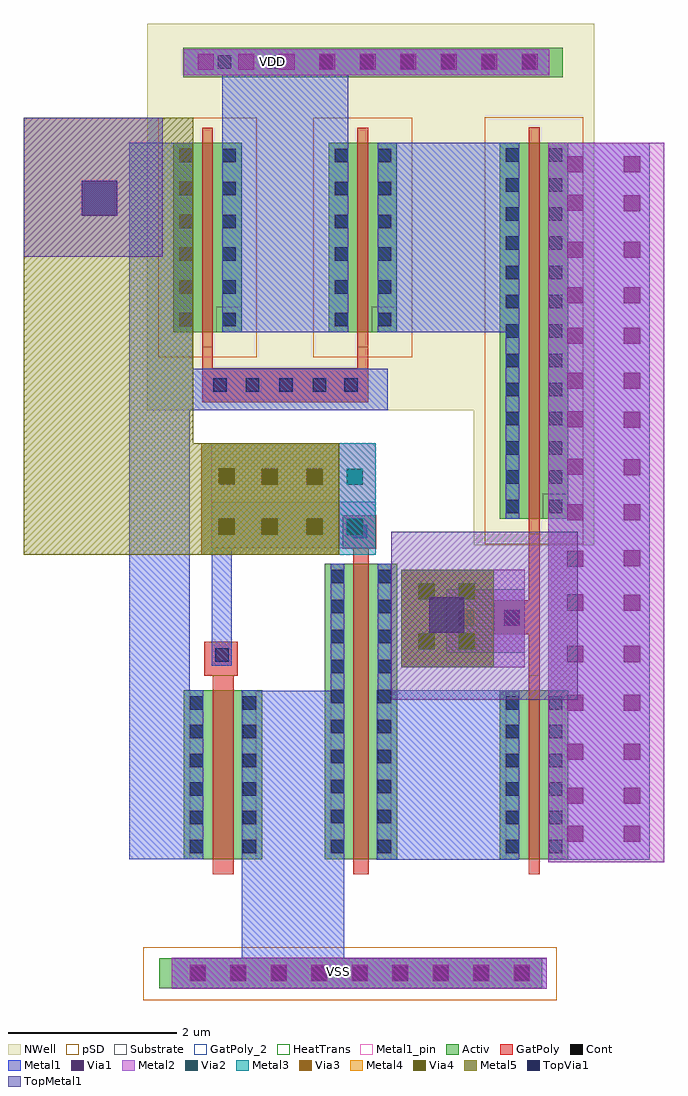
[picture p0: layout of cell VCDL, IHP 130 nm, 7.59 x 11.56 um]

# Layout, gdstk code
import gdstk
lib = gdstk.Library(unit=1e-6, precision=1e-09)
def R(c, l, rs):  # rectangles x0, y0, x1, y1
    for r in rs: c.add(gdstk.rectangle(r[:2], r[2:], *l))
def A(c, l, x, y, w, h, nx, ny, dx, dy):  # array of equal rectangles
    R(c, l, [(x+i*dx, y+j*dy, x+i*dx+w, y+j*dy+h) for i in range(nx) for j in range(ny)])
def P(c, l, *ps):  # polygons
    for p in ps: c.add(gdstk.Polygon(p, *l))
Activ = (1, 0)
GatPoly = (5, 0)
GatPoly_2 = (5, 2)
Cont = (6, 0)
Metal1 = (8, 0)
Metal1_pin = (8, 2)
Metal2 = (10, 0)
pSD = (14, 0)
Via1 = (19, 0)
Via2 = (29, 0)
Metal3 = (30, 0)
NWell = (31, 0)
Substrate = (40, 0)
Via3 = (49, 0)
Metal4 = (50, 0)
HeatTrans = (51, 0)
Via4 = (66, 0)
Metal5 = (67, 0)
TopVia1 = (125, 0)
TopMetal1 = (126, 0)

nmos = lib.new_cell('nmos')
R(nmos, Activ, [(0,0,0.3,0.3), (0,0,0.81,2), (0.51,0,0.81,0.3)])
R(nmos, GatPoly, [(0.34,-0.18,0.47,2.18)])
R(nmos, GatPoly_2, [(0.34,-0.18,0.47,2.18)])
A(nmos, Cont, 0.07, 0.07, 0.16, 0.16, 1, 6, 0, 0.34)
A(nmos, Cont, 0.58, 0.07, 0.16, 0.16, 1, 6, 0, 0.34)
R(nmos, Metal1, [(0.07,0,0.23,2), (0.58,0,0.74,2)])
R(nmos, Metal1_pin, [(0.07,0,0.23,2), (0.58,0,0.74,2)])
R(nmos, HeatTrans, [(0.34,-0.18,0.47,2.18)])
nmos.add(gdstk.Label('nmos', (0.405,1), layer=63, texttype=0))
nmos.add(gdstk.Label('nmos', (0.405,1), layer=51, texttype=0))

nmos_1 = lib.new_cell('nmos$1')
R(nmos_1, Activ, [(0,0,0.3,0.3), (0,0,0.86,3.5), (0.56,0,0.86,0.3)])
R(nmos_1, GatPoly, [(0.34,-0.18,0.52,3.68)])
R(nmos_1, GatPoly_2, [(0.34,-0.18,0.52,3.68)])
A(nmos_1, Cont, 0.07, 0.07, 0.16, 0.16, 1, 9, 0, 0.355)
A(nmos_1, Cont, 0.63, 0.07, 0.16, 0.16, 1, 9, 0, 0.355)
R(nmos_1, Cont, [(0.07,3.27,0.23,3.43), (0.63,3.27,0.79,3.43)])
R(nmos_1, Metal1, [(0.07,0,0.23,3.5), (0.63,0,0.79,3.5)])
R(nmos_1, Metal1_pin, [(0.07,0,0.23,3.5), (0.63,0,0.79,3.5)])
R(nmos_1, HeatTrans, [(0.34,-0.18,0.52,3.68)])
nmos_1.add(gdstk.Label('nmos', (0.43,1.75), layer=63, texttype=0))
nmos_1.add(gdstk.Label('nmos', (0.43,1.75), layer=51, texttype=0))

nmos_2 = lib.new_cell('nmos$2')
R(nmos_2, Activ, [(0,0,0.3,0.3), (0,0,0.93,2), (0.63,0,0.93,0.3)])
R(nmos_2, GatPoly, [(0.34,-0.18,0.59,2.18)])
R(nmos_2, GatPoly_2, [(0.34,-0.18,0.59,2.18)])
A(nmos_2, Cont, 0.07, 0.07, 0.16, 0.16, 1, 6, 0, 0.34)
A(nmos_2, Cont, 0.7, 0.07, 0.16, 0.16, 1, 6, 0, 0.34)
R(nmos_2, Metal1, [(0.07,0,0.23,2), (0.7,0,0.86,2)])
R(nmos_2, Metal1_pin, [(0.07,0,0.23,2), (0.7,0,0.86,2)])
R(nmos_2, HeatTrans, [(0.34,-0.18,0.59,2.18)])
nmos_2.add(gdstk.Label('nmos', (0.465,1), layer=63, texttype=0))
nmos_2.add(gdstk.Label('nmos', (0.465,1), layer=51, texttype=0))

pmos = lib.new_cell('pmos')
R(pmos, Activ, [(0,0,0.3,0.3), (0,0,0.81,4.46), (0.51,0,0.81,0.3)])
R(pmos, GatPoly, [(0.34,-0.18,0.47,4.64), (0.34,-0.18,0.47,4.64)])
A(pmos, Cont, 0.07, 0.07, 0.16, 0.16, 1, 3, 0, 0.345)
A(pmos, Cont, 0.58, 0.07, 0.16, 0.16, 1, 3, 0, 0.345)
A(pmos, Cont, 0.07, 1.11, 0.16, 0.16, 1, 3, 0, 0.345)
A(pmos, Cont, 0.58, 1.11, 0.16, 0.16, 1, 3, 0, 0.345)
A(pmos, Cont, 0.07, 2.15, 0.16, 0.16, 1, 3, 0, 0.345)
A(pmos, Cont, 0.58, 2.15, 0.16, 0.16, 1, 3, 0, 0.345)
A(pmos, Cont, 0.07, 3.19, 0.16, 0.16, 1, 3, 0, 0.345)
A(pmos, Cont, 0.58, 3.19, 0.16, 0.16, 1, 3, 0, 0.345)
R(pmos, Cont, [(0.07,4.23,0.23,4.39), (0.58,4.23,0.74,4.39)])
R(pmos, Metal1, [(0.07,0,0.23,4.46), (0.07,0,0.23,4.46), (0.58,0,0.74,4.46), (0.58,0,0.74,4.46)])
R(pmos, pSD, [(-0.18,-0.3,0.99,4.76)])
R(pmos, NWell, [(-0.31,-0.31,1.12,4.77)])
R(pmos, Substrate, [(0.51,0,0.81,0.3)])
R(pmos, HeatTrans, [(0.34,-0.18,0.47,4.64)])
pmos.add(gdstk.Label('pmos', (0.405,2.23), layer=63, texttype=0))
pmos.add(gdstk.Label('pmos', (0.405,2.23), layer=51, texttype=0))

pmos_1 = lib.new_cell('pmos$1')
R(pmos_1, Activ, [(0,0,0.3,0.3), (0,0,0.81,2.24), (0.51,0,0.81,0.3)])
R(pmos_1, GatPoly, [(0.34,-0.18,0.47,2.42), (0.34,-0.18,0.47,2.42)])
A(pmos_1, Cont, 0.07, 1.23, 0.16, 0.16, 1, 3, 0, 0.39)
A(pmos_1, Cont, 0.58, 1.23, 0.16, 0.16, 1, 3, 0, 0.39)
R(pmos_1, Cont, [(0.07,0.07,0.23,0.23), (0.58,0.07,0.74,0.23), (0.07,0.455,0.23,0.615), (0.58,0.455,0.74,0.615), (0.07,0.845,0.23,1.005), (0.58,0.845,0.74,1.005)])
R(pmos_1, Metal1, [(0.07,0,0.23,2.24), (0.07,0,0.23,2.24), (0.58,0,0.74,2.24), (0.58,0,0.74,2.24)])
R(pmos_1, pSD, [(-0.18,-0.3,0.99,2.54)])
R(pmos_1, NWell, [(-0.31,-0.31,1.12,2.55)])
R(pmos_1, Substrate, [(0.51,0,0.81,0.3)])
R(pmos_1, HeatTrans, [(0.34,-0.18,0.47,2.42)])
pmos_1.add(gdstk.Label('pmos', (0.405,1.12), layer=63, texttype=0))
pmos_1.add(gdstk.Label('pmos', (0.405,1.12), layer=51, texttype=0))

vcdl = lib.new_cell('VCDL')
R(vcdl, Activ, [(9.64,74.94,14.175,75.295), (9.855,74.967,11.295,75.267), (9.855,74.967,11.295,75.267), (11.295,74.967,12.735,75.267), (11.295,74.967,12.735,75.267), (12.735,74.967,14.175,75.267), (12.735,74.967,14.175,75.267), (9.92,85.735,14.42,86.085), (9.94,85.76,14.255,86.06)])
R(vcdl, GatPoly, [(10.17,78.645,10.57,79.045), (14.015,78.65,14.145,80.32), (13.61,79.135,14.015,79.535), (11.81,80.145,12.21,80.545), (10.145,81.885,12.115,82.285), (10.28,81.962,11.99,82.202), (10.145,81.965,10.275,82.535), (11.985,81.965,12.115,82.535)])
R(vcdl, GatPoly_2, [(10.145,81.885,12.115,82.285)])
A(vcdl, Cont, 10.015, 75.035, 0.16, 0.16, 9, 1, 0.48, 0)
A(vcdl, Cont, 10.665, 82.005, 0.16, 0.16, 3, 1, 0.395, 0)
A(vcdl, Cont, 11.535, 85.835, 0.16, 0.16, 6, 1, 0.48, 0)
R(vcdl, Cont, [(10.015,75.035,10.175,75.195), (10.3,78.81,10.46,78.97), (13.73,79.255,13.89,79.415), (11.94,80.27,12.1,80.43), (10.28,82.005,10.44,82.165), (11.83,82.005,11.99,82.165), (10.33,85.835,10.49,85.995), (10.91,85.835,11.07,85.995)])
R(vcdl, Metal1, [(9.785,74.935,14.23,75.295), (9.785,74.937,14.23,75.295), (11.1,74.972,11.4,75.272), (11.17,75.272,11.33,75.812), (10.615,75.295,11.83,75.812), (10.78,75.812,11.83,75.972), (10.615,75.972,11.83,78.465), (11.66,75.972,11.82,76.462), (12.215,76.46,13.9,78.47), (14.245,76.46,15.45,84.955), (9.28,76.47,10,84.96), (9.28,76.492,9.47,81.362), (9.47,76.492,9.99,76.712), (12.38,76.847,13.74,77.047), (14.245,78.462,14.41,80.492), (10.26,78.76,10.5,80.15), (13.04,78.915,13.97,79.665), (13.65,79.172,13.97,79.492), (14.41,79.362,14.71,79.662), (10.26,80.15,10.61,80.482), (10.26,80.15,12.205,80.705), (10.61,80.232,12.16,80.482), (9.28,81.362,9.88,81.612), (9.88,81.79,10.035,82.715), (10.035,81.79,12.345,82.28), (10.98,81.792,11.29,82.202), (10.39,82.71,11.88,85.762), (12.235,82.71,13.75,84.955), (12.39,84.332,13.74,84.532), (10.385,84.955,10.545,85.765), (11.715,84.955,11.875,85.415), (10.545,85.232,11.72,85.412), (9.93,85.76,14.26,86.065), (10.32,85.762,10.62,86.062)])
P(vcdl, Metal1, [(10.615,75.81),(10.615,75.908),(10.615,76.46),(10.785,76.46),(10.785,75.81)])
R(vcdl, Metal2, [(9.785,74.935,14.23,75.3), (14.25,76.43,15.625,84.96), (12.505,78.74,13.97,79.9), (13.04,78.915,13.97,79.67), (13.04,79.172,13.97,79.492), (14.41,79.362,14.71,79.662), (14.71,79.392,15.38,79.642), (10.255,80.15,12.205,81.395), (9.93,85.76,14.26,86.065)])
R(vcdl, pSD, [(9.45,74.8,14.35,75.425), (9.785,74.937,11.365,75.297), (11.225,74.937,14.23,75.297)])
A(vcdl, Via1, 10, 75.025, 0.19, 0.19, 9, 1, 0.48, 0)
A(vcdl, Via1, 14.47, 77.645, 0.19, 0.19, 1, 3, 0, 0.58)
A(vcdl, Via1, 15.145, 77.645, 0.19, 0.19, 1, 3, 0, 0.58)
A(vcdl, Via1, 10.095, 85.82, 0.19, 0.19, 9, 1, 0.48, 0)
R(vcdl, Via1, [(14.47,76.675,14.66,76.865), (15.145,76.675,15.335,76.865), (14.47,77.125,14.66,77.315), (15.145,77.125,15.335,77.315), (13.18,79.235,13.37,79.425), (13.72,79.235,13.91,79.425), (15.145,79.41,15.335,79.6), (14.47,79.415,14.66,79.605), (14.47,79.935,14.66,80.125), (15.145,79.94,15.335,80.13), (10.85,80.31,11.04,80.5), (11.385,80.31,11.575,80.5), (11.86,80.31,12.05,80.5), (10.345,80.315,10.535,80.505), (14.47,80.485,14.66,80.675), (15.145,80.485,15.335,80.675), (15.145,81.02,15.335,81.21), (14.47,81.025,14.66,81.215), (15.145,81.58,15.335,81.77), (14.47,81.585,14.66,81.775), (14.47,82.045,14.66,82.235), (15.145,82.045,15.335,82.235), (14.47,82.575,14.66,82.765), (15.145,82.575,15.335,82.765), (14.47,83.055,14.66,83.245), (15.145,83.055,15.335,83.245), (14.47,83.595,14.66,83.785), (15.145,83.595,15.335,83.785), (15.145,84.145,15.335,84.335), (14.47,84.15,14.66,84.34), (14.47,84.61,14.66,84.8), (15.145,84.61,15.335,84.8)])
R(vcdl, Via2, [(12.71,78.955,12.9,79.145), (13.185,78.955,13.375,79.145), (12.71,79.55,12.9,79.74), (13.185,79.55,13.375,79.74), (10.85,80.31,11.04,80.5), (11.385,80.31,11.575,80.5), (11.86,80.31,12.05,80.5), (10.345,80.315,10.535,80.505), (10.85,80.905,11.04,81.095), (11.385,80.905,11.575,81.095), (11.86,80.905,12.05,81.095), (10.345,80.91,10.535,81.1)])
R(vcdl, Metal3, [(12.505,78.74,13.6,79.9), (10.135,80.075,12.205,81.395)])
R(vcdl, NWell, [(9.495,81.79,13.365,82.402), (9.495,82.402,14.795,86.365), (9.5,82.402,14.785,86.362), (10.93,82.402,13.36,85.262), (9.5,85.262,14.785,86.362), (9.711,85.495,14.591,86.287)])
R(vcdl, Via3, [(12.71,78.955,12.9,79.145), (13.185,78.955,13.375,79.145), (12.71,79.55,12.9,79.74), (13.185,79.55,13.375,79.74), (10.85,80.31,11.04,80.5), (11.385,80.31,11.575,80.5), (10.345,80.315,10.535,80.505), (10.85,80.905,11.04,81.095), (11.385,80.905,11.575,81.095), (10.345,80.91,10.535,81.1)])
R(vcdl, Metal4, [(12.505,78.74,13.6,79.9), (10.135,80.075,11.77,81.395)])
R(vcdl, Via4, [(12.71,78.955,12.9,79.145), (13.185,78.955,13.375,79.145), (12.71,79.55,12.9,79.74), (13.185,79.55,13.375,79.74), (10.85,80.31,11.04,80.5), (11.385,80.31,11.575,80.5), (10.345,80.315,10.535,80.505), (10.85,80.905,11.04,81.095), (11.385,80.905,11.575,81.095), (10.345,80.91,10.535,81.1)])
R(vcdl, Metal5, [(12.505,78.745,13.6,79.9), (8.03,80.075,11.77,81.395), (8.03,80.075,10.04,85.255), (10.345,80.91,10.535,81.1)])
R(vcdl, TopVia1, [(12.835,79.15,13.255,79.57), (8.72,84.09,9.14,84.51)])
R(vcdl, TopMetal1, [(12.39,78.355,14.6,80.35), (8.03,83.605,9.68,85.255)])
vcdl.add(gdstk.Reference(nmos, (13.675,76.47)))
vcdl.add(gdstk.Reference(nmos_1, (11.6,76.47)))
vcdl.add(gdstk.Reference(nmos_2, (9.93,76.47)))
vcdl.add(gdstk.Reference(pmos, (13.675,80.5)))
vcdl.add(gdstk.Reference(pmos_1, (9.805,82.715)))
vcdl.add(gdstk.Reference(pmos_1, (11.645,82.715)))
vcdl.add(gdstk.Label('VSS', (11.765,75.14), layer=8, texttype=25))
vcdl.add(gdstk.Label('VSS', (11.765,75.14), layer=8, texttype=25))
vcdl.add(gdstk.Label('VDD', (10.985,85.92), layer=8, texttype=25))

lib.write_gds('VCDL.gds')
